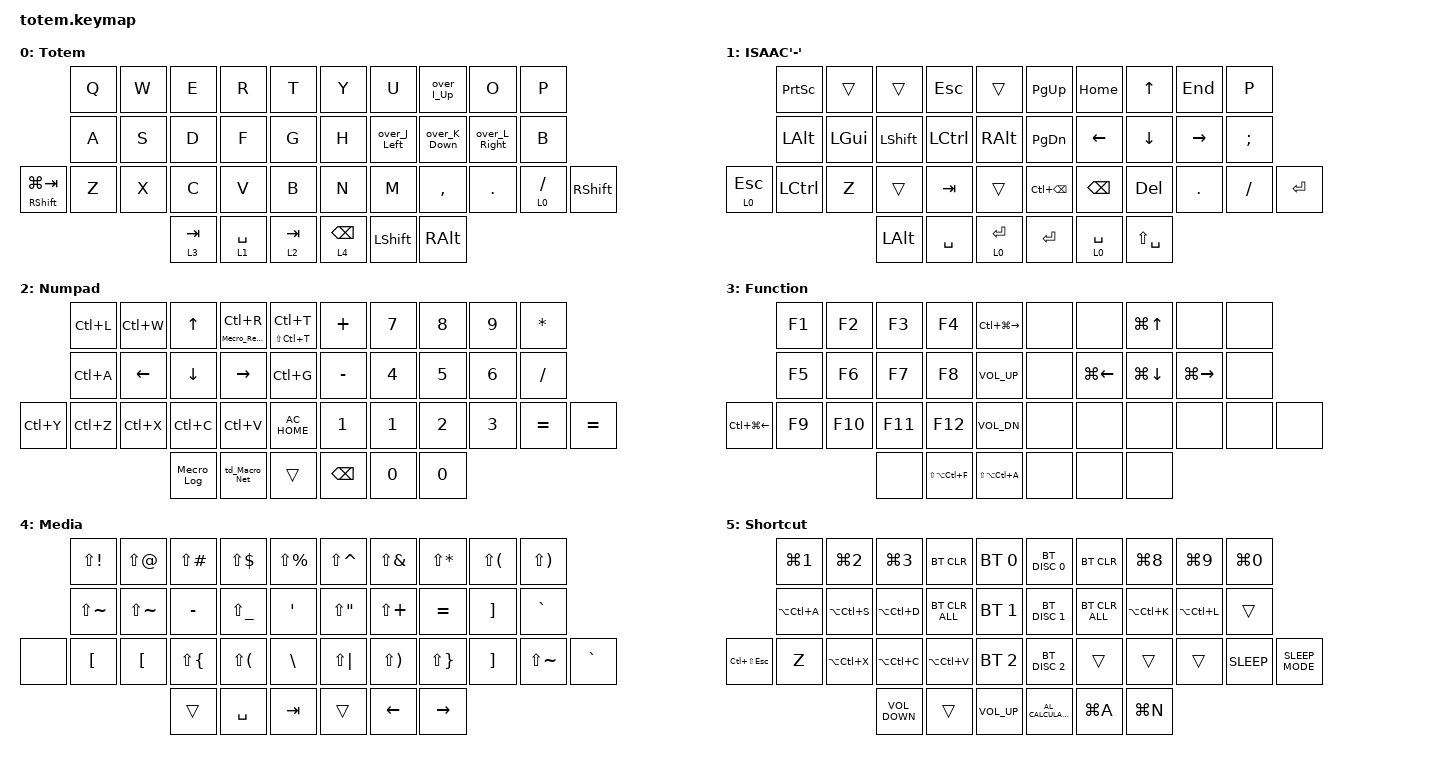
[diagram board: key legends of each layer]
//
//                                                        ▀▀▀▀▀     ▀▀▀▀▀          ▀▀█▀▀
//                                                        ▄▀▀▀▄  ▄  ▄▀▀▀▄  ▄  ▄▀▀▀▄  █  ▄▀▀▀▄
//                                                        █   █  █  █   █  █  █   █  █  █   █
//                                                         ▀▀▀   █   ▀▀▀   █   ▀▀▀   ▀   ▀▀▀
//                                                               █      ▄▄▄█▄▄▄    █   █  
//                                                               ▀      █  █  █     █▄█
//                                                             ▀▀▀▀▀    █  █  █      ▀
//                                                                      ▀  ▀  ▀
//
// ▄▄▄▄▄▄▄▄▄▄▄▄▄▄▄▄▄▄▄▄▄▄▄▄▄▄▄▄▄▄▄▄▄▄▄▄▄▄▄▄▄▄▄▄▄▄▄▄▄▄▄▄▄▄▄▄▄▄▄▄▄▄▄▄▄▄▄▄▄▄▄▄▄▄▄▄▄▄▄▄▄▄▄▄▄▄▄▄▄▄▄▄▄▄▄▄▄▄▄▄▄▄▄▄▄▄▄▄▄▄▄▄▄▄▄▄▄▄▄▄▄▄▄▄▄▄▄▄▄▄▄▄▄▄▄▄▄▄▄▄▄▄▄▄▄▄▄▄▄

#include <behaviors.dtsi>
#include <dt-bindings/zmk/bt.h>
#include <dt-bindings/zmk/keys.h>
#include <dt-bindings/zmk/pointing.h>

#define Base        0
#define Nav         1
#define Sym         2
#define Fun         3
#define Game        4
#define Gameplus    5

&mt {
    quick-tap-ms = <100>;
    global-quick-tap;
    flavor = "hold-preferred";
    tapping-term-ms = <180>;
};

&lt {
    tapping-term-ms = <400>;
    flavor = "balanced";
    quick-tap-ms = <400>;
};

/ {
    behaviors {
        hm: homerow_mods {
            compatible = "zmk,behavior-hold-tap";
            label = "HOMEROW_MODS";
            #binding-cells = <2>;
            flavor = "tap-preferred";
            tapping-term-ms = <200>;
            quick-tap-ms = <130>;
            global-quick-tap;
            bindings = <&kp>, <&kp>;
        };

        td_Macro_Net: td_Macro_Net {
            compatible = "zmk,behavior-tap-dance";
            label = "TD_MACRO_NET";
            #binding-cells = <0>;
            bindings = <&Macro_Net1>, <&Macro_Net2>;

            tapping-term-ms = <350>;
        };

        td_Refresh: td_Refresh {
            compatible = "zmk,behavior-tap-dance";
            label = "TD_REFRESH";
            #binding-cells = <0>;
            bindings = <&kp LC(R)>, <&Mecro_Refresh>;

            tapping-term-ms = <350>;
        };

        td_mail: td_mail {
            compatible = "zmk,behavior-tap-dance";
            label = "TD_MAIL";
            #binding-cells = <0>;
            bindings = <&kp LA(LC(G))>, <&kp LA(LC(N))>;
        };

        td_chrome_newtab: td_chrome_newtab {
            compatible = "zmk,behavior-tap-dance";
            label = "TD_CHROME_NEWTAB";
            #binding-cells = <0>;
            bindings = <&kp LC(T)>, <&kp LC(LS(T))>;

            tapping-term-ms = <350>;
        };

        over_S_save: over_S_save {
            compatible = "zmk,behavior-mod-morph";
            label = "OVER_S_SAVE";
            bindings = <&kp S>, <&kp LC(S)>;

            #binding-cells = <0>;
            mods = <(MOD_LSFT)>;
        };

        over_I_Up: over_I_Up {
            compatible = "zmk,behavior-mod-morph";
            label = "OVER_I_UP";
            bindings = <&kp I>, <&kp LS(UP_ARROW)>;

            #binding-cells = <0>;
            mods = <(MOD_LSFT)>;
        };

        over_J_Left: over_J_Left {
            compatible = "zmk,behavior-mod-morph";
            label = "OVER_J_LEFT";
            bindings = <&kp J>, <&kp LS(LEFT_ARROW)>;

            #binding-cells = <0>;
            mods = <(MOD_LSFT)>;
        };

        over_K_Down: over_K_Down {
            compatible = "zmk,behavior-mod-morph";
            label = "OVER_K_DOWN";
            bindings = <&kp K>, <&kp LS(DOWN_ARROW)>;

            #binding-cells = <0>;
            mods = <(MOD_LSFT)>;
        };

        over_L_Right: over_L_Right {
            compatible = "zmk,behavior-mod-morph";
            label = "OVER_L_RIGHT";
            bindings = <&kp L>, <&kp LS(RIGHT_ARROW)>;

            #binding-cells = <0>;
            mods = <(MOD_LSFT)>;
        };

        hmc: homerow_mods_ctrl {
            compatible = "zmk,behavior-hold-tap";
            label = "HMC";
            #binding-cells = <2>;
            flavor = "tap-preferred";
            tapping-term-ms = <200>;
            quick-tap-ms = <130>;
            global-quick-tap;
            bindings = <&kp>, <&kp>;

            hold-trigger-key-positions = <34>;
        };

        OSM_shift: OSM_shift {
            compatible = "zmk,behavior-sticky-key";
            label = "OSM_SHIFT";
            bindings = <&kp>;
            #binding-cells = <1>;
            release-after-ms = <50>;
            quick-release;
        };

        LT_hold: LT_hold {
            compatible = "zmk,behavior-hold-tap";
            label = "LT_HOLD";
            bindings = <&mo>, <&kp>;

            #binding-cells = <2>;
            tapping-term-ms = <240>;
            quick-tap-ms = <240>;
        };

        MT_hold: MT_hold {
            compatible = "zmk,behavior-hold-tap";
            label = "MT_HOLD";
            bindings = <&kp>, <&kp>;

            #binding-cells = <2>;
            tapping-term-ms = <240>;
            quick-tap-ms = <200>;
        };

        over_R_f4: over_R_f4 {
            compatible = "zmk,behavior-mod-morph";
            label = "OVER_R_F4";
            bindings = <&kp R>, <&kp LA(F4)>;

            #binding-cells = <0>;
            mods = <(MOD_LSFT)>;
        };

        over_D_ctl: over_D_ctl {
            compatible = "zmk,behavior-mod-morph";
            label = "OVER_D_CTL";
            bindings = <&kp D>, <&kp LC(D)>;

            #binding-cells = <0>;
            mods = <(MOD_LSFT)>;
        };

        over_E_ctl: over_E_ctl {
            compatible = "zmk,behavior-mod-morph";
            label = "OVER_E_CTL";
            bindings = <&kp E>, <&kp LC(E)>;

            #binding-cells = <0>;
            mods = <(MOD_LSFT)>;
        };

        over_F_ctl: over_F_ctl {
            compatible = "zmk,behavior-mod-morph";
            label = "OVER_F_CTL";
            bindings = <&kp F>, <&kp LC(F)>;

            #binding-cells = <0>;
            mods = <(MOD_LSFT)>;
        };

        ht_test: ht_test {
            compatible = "zmk,behavior-hold-tap";
            label = "HT_TEST";
            bindings = <&kp>, <&kp>;

            #binding-cells = <2>;
            tapping-term-ms = <350>;
        };

        td_hold_test: td_hold_test {
            compatible = "zmk,behavior-tap-dance";
            label = "TD_HOLD_TEST";
            #binding-cells = <0>;
            bindings = <&kp NUMBER_1>, <&ht_test NUMBER_3 NUMBER_2>;
        };

        LT_retro: LT_retro {
            compatible = "zmk,behavior-hold-tap";
            label = "LT_RETRO";
            bindings = <&mo>, <&kp>;

            #binding-cells = <2>;
            tapping-term-ms = <300>;
            flavor = "hold-preferred";
            retro-tap;
            quick-tap-ms = <300>;
        };

        ht_refresh: ht_refresh {
            compatible = "zmk,behavior-hold-tap";
            label = "HT_REFRESH";
            #binding-cells = <2>;
            flavor = "tap-preferred";
            tapping-term-ms = <200>;
            quick-tap-ms = <130>;
            global-quick-tap;
            bindings = <&Mecro_Refresh>, <&kp>;
        };

        ht_mkp: ht_mkp {
            compatible = "zmk,behavior-hold-tap";
            label = "HT_MKP";
            bindings = <&mkp>, <&kp>;

            #binding-cells = <2>;
            tapping-term-ms = <240>;
            quick-tap-ms = <200>;
            flavor = "balanced";
        };
    };

    combos {
        compatible = "zmk,combos";

        Delete_alt {
            bindings = <&hm LALT DEL>;
            key-positions = <11 12>;
            layers = <0>;
        };

        question {
            bindings = <&kp QUESTION>;
            key-positions = <16 17>;
            layers = <0>;
            timeout-ms = <400>;
        };

        Enter {
            bindings = <&kp ENTER>;
            key-positions = <19 31>;
            layers = <0>;
            timeout-ms = <350>;
        };

        alt+f4 {
            bindings = <&kp LA(F4)>;
            key-positions = <0 20>;
            layers = <0 2>;
        };

        brackets {
            bindings = <&kp LPAR>;
            key-positions = <13 14>;
            layers = <0 2>;
        };

        caps {
            bindings = <&kp CAPS>;
            key-positions = <0 1 8 9>;
            layers = <0>;
            timeout-ms = <350>;
        };

        four {
            bindings = <&kp DOLLAR>;
            key-positions = <3 14>;
            layers = <0 2>;
            require-prior-idle-ms = <100>;
        };

        caps_word {
            bindings = <&caps_word>;
            key-positions = <27 28>;
            timeout-ms = <350>;
            layers = <0>;
        };

        del {
            bindings = <&mt LALT DELETE>;
            key-positions = <18 17>;
            layers = <0>;
        };

        quotes {
            bindings = <&kp DOUBLE_QUOTES>;
            key-positions = <30 29>;
            layers = <0>;
        };

        exclamation {
            bindings = <&mt LSHIFT EXCLAMATION>;
            key-positions = <12 13>;
            layers = <0 2>;
        };

        qua {
            bindings = <&kp SQT>;
            key-positions = <29 28>;
            layers = <0>;
            require-prior-idle-ms = <100>;
        };

        win {
            bindings = <&kp LEFT_WIN>;
            key-positions = <21 22>;
            layers = <0>;
        };

        middle_click {
            bindings = <&ht_mkp MCLK LC(PAGE_UP)>;
            key-positions = <22 23>;
            timeout-ms = <350>;
            layers = <0>;
        };

        right_click {
            bindings = <&ht_mkp RCLK LC(PAGE_DOWN)>;
            key-positions = <23 24>;
            layers = <0 2>;
        };

        five {
            bindings = <&kp PERCENT>;
            key-positions = <6 15>;
            layers = <0>;
            require-prior-idle-ms = <100>;
        };

        six {
            bindings = <&kp CARET>;
            key-positions = <6 7>;
            layers = <0>;
            require-prior-idle-ms = <100>;
        };

        seven {
            bindings = <&kp AMPERSAND>;
            key-positions = <8 7>;
            layers = <0>;
        };

        two {
            bindings = <&kp AT_SIGN>;
            key-positions = <1 2>;
            layers = <0 2>;
            require-prior-idle-ms = <100>;
        };

        three {
            bindings = <&kp HASH>;
            key-positions = <2 3>;
            layers = <0 2>;
            require-prior-idle-ms = <100>;
        };

        eight {
            bindings = <&kp ASTERISK>;
            key-positions = <8 9>;
            layers = <0 2>;
            require-prior-idle-ms = <100>;
        };

        wave {
            bindings = <&mt LCTRL TILDE>;
            key-positions = <10 11>;
            layers = <0 2>;
            require-prior-idle-ms = <100>;
        };

        Macro_brackets {
            bindings = <&kp RPAR>;
            key-positions = <15 16>;
            layers = <0>;
            timeout-ms = <350>;
        };

        TG {
            bindings = <&tog 0>;
            key-positions = <10 19 11 18>;
            layers = <0>;
        };

        gaming {
            bindings = <&tog 1>;
            key-positions = <20 31>;
            layers = <0 1>;
        };

        backtick {
            bindings = <&kp GRAVE>;
            key-positions = <20 10>;
            layers = <0>;
        };

        backslash {
            bindings = <&kp BACKSLASH>;
            key-positions = <31 30>;
            layers = <0>;
        };

        esc {
            bindings = <&kp ESC>;
            key-positions = <0 1>;
            layers = <0>;
        };

        semi {
            bindings = <&mt LCTRL SEMICOLON>;
            key-positions = <19 18>;
            layers = <0>;
        };

        L_bracket {
            bindings = <&kp LBKT>;
            key-positions = <4 3>;
            layers = <0>;
        };

        R_bracket {
            bindings = <&kp RBKT>;
            key-positions = <5 6>;
            layers = <0>;
        };

        all {
            bindings = <&kp LC(A)>;
            key-positions = <10 34>;
            layers = <0>;
        };

        underbar {
            bindings = <&kp UNDERSCORE>;
            key-positions = <26 27>;
            layers = <0>;
        };

        minus {
            bindings = <&kp MINUS>;
            key-positions = <25 24>;
        };

        settings_layer {
            bindings = <&mo 5>;
            key-positions = <34 33>;
        };
    };

    macros {
        Macro_Net1: net_macro {
            compatible = "zmk,behavior-macro";
            #binding-cells = <0>;
            bindings = <&kp LEFT_ARROW &kp LEFT_ARROW &kp N0 &kp ENTER>;
            label = "NET_MACRO";
        };

        Macro_Net2: net_macro2 {
            compatible = "zmk,behavior-macro";
            #binding-cells = <0>;
            bindings = <&kp LEFT_ARROW &kp N0 &kp N0 &kp ENTER>;
            label = "NET_MACRO2";
        };

        Mecro_Log: Mecro_Log {
            compatible = "zmk,behavior-macro";
            #binding-cells = <0>;
            bindings = <&kp LC(A) &kp D &kp L &kp D &kp M &kp D &kp D &kp L>;
            label = "MECRO_LOG";
        };

        Mecro_Refresh: Mecro_Refresh {
            compatible = "zmk,behavior-macro";
            #binding-cells = <0>;
            bindings = <&kp LC(A) &kp LC(C) &kp LC(R)>;
            label = "MECRO_REFRESH";
        };

        Macro_brackets: Macro_brackets {
            compatible = "zmk,behavior-macro";
            #binding-cells = <0>;
            bindings = <&kp LPAR &kp RPAR &kp LEFT_ARROW>;
            label = "MACRO_BRACKETS";
        };

        Macro_bracket_r: Macro_bracket {
            compatible = "zmk,behavior-macro";
            #binding-cells = <0>;
            bindings = <&kp LEFT_BRACKET &kp RIGHT_BRACKET &kp LEFT_ARROW>;
            label = "MACRO_BRACKET";
        };
    };

    keymap {
        compatible = "zmk,keymap";

        Totem {
            display-name = "Totem";
            bindings = <
                              &kp Q  &kp W  &kp E            &kp R        &kp T             &kp Y            &kp U         &over_I_Up     &kp O          &kp P
                              &kp A  &kp S  &kp D            &kp F        &kp G             &kp H            &over_J_Left  &over_K_Down   &over_L_Right  &kp B
&MT_hold RIGHT_SHIFT LG(TAB)  &kp Z  &kp X  &kp C            &kp V        &kp B             &kp N            &kp M         &kp COMMA      &kp PERIOD     &lt 0 SLASH  &kp RIGHT_SHIFT
                                            &LT_retro 3 TAB  &lt 1 SPACE  &LT_hold 2 TAB    &lt 4 BACKSPACE  &kp LSHFT     &kp RIGHT_ALT
            >;
        };

        CONTROLS {
            bindings = <
              &kp PRINTSCREEN  &trans        &trans      &kp ESC           &trans           &kp PG_UP     &kp HOME     &kp UP         &kp END    &kp P
              &kp LALT         &kp LEFT_GUI  &kp LSHIFT  &kp LEFT_CONTROL  &kp RIGHT_ALT    &kp PG_DN     &kp LEFT     &kp DOWN       &kp RIGHT  &kp SEMI
&lt 0 ESCAPE  &kp LCTRL        &kp Z         &trans      &kp TAB           &trans           &kp LC(BSPC)  &kp BSPC     &kp DEL        &kp DOT    &kp FSLH  &kp ENTER
                                             &kp LALT    &kp SPACE         &lt 0 ENTER      &kp RET       &lt 0 SPACE  &kp LS(SPACE)
            >;

            label = "ISAAC'-'";
        };

        Numpad {
            display-name = "Numpad";
            bindings = <
           &kp LC(L)  &kp LC(W)       &kp UP_ARROW    &ht_refresh 0 LC(R)  &hm LS(LC(T)) LC(T)    &kp PLUS       &kp NUMBER_7  &kp NUMBER_8  &kp NUMBER_9  &kp ASTERISK
           &kp LC(A)  &kp LEFT_ARROW  &kp DOWN_ARROW  &kp RIGHT_ARROW      &kp LC(G)              &kp MINUS      &kp NUMBER_4  &kp NUMBER_5  &kp NUMBER_6  &kp SLASH
&kp LC(Y)  &kp LC(Z)  &kp LC(X)       &kp LC(C)       &kp LC(V)            &kp C_AC_HOME          &kp N1         &kp NUMBER_1  &kp NUMBER_2  &kp NUMBER_3  &kp EQUAL     &kp EQUAL
                                      &Mecro_Log      &td_Macro_Net        &trans                 &kp BACKSPACE  &kp N0        &kp NUMBER_0
            >;
        };

        Function {
            display-name = "Function";
            bindings = <
                        &kp F1  &kp F2   &kp F3   &kp F4             &kp LC(LG(RIGHT))    &none  &none         &kp LG(UP_ARROW)  &none          &none
                        &kp F5  &kp F6   &kp F7   &kp F8             &kp C_VOL_UP         &none  &kp LG(LEFT)  &kp LG(DOWN)      &kp LG(RIGHT)  &none
&kp LC(LG(LEFT_ARROW))  &kp F9  &kp F10  &kp F11  &kp F12            &kp C_VOL_DN         &none  &none         &none             &none          &none  &none
                                         &none    &kp LS(LA(LC(F)))  &kp LS(LA(LC(A)))    &none  &none         &none
            >;
        };

        SYMBOLS {
            display-name = "Media";
            bindings = <
       &kp LS(EXCL)   &kp LS(AT)     &kp LS(POUND)  &kp LS(DLLR)   &kp LS(PRCNT)    &kp LS(CARET)  &kp LS(AMPS)    &kp LS(STAR)     &kp LS(LPAR)  &kp LS(RPAR)
       &kp LS(TILDE)  &kp LS(TILDE)  &kp MINUS      &kp LS(UNDER)  &kp SQT          &kp LS(DQT)    &kp LS(PLUS)    &kp EQUAL        &kp RBKT      &kp GRAVE
&none  &kp LBKT       &kp LBKT       &kp LS(LBRC)   &kp LS(LPAR)   &kp BSLH         &kp LS(PIPE)   &kp LS(RPAR)    &kp LS(RBRC)     &kp RBKT      &kp LS(TILDE)  &kp GRAVE
                                     &trans         &kp SPACE      &kp TAB          &trans         &kp LEFT_ARROW  &kp RIGHT_ARROW
            >;
        };

        Shortcut {
            display-name = "Shortcut";
            bindings = <
                    &kp LG(NUMBER_1)  &kp LG(NUMBER_2)  &kp LG(NUMBER_3)   &bt BT_CLR      &bt BT_SEL 0       &bt BT_DISC 0        &bt BT_CLR      &kp LG(N8)     &kp LG(N9)     &kp LG(N0)
                    &kp LA(LC(A))     &kp LA(LC(S))     &kp LA(LC(D))      &bt BT_CLR_ALL  &bt BT_SEL 1       &bt BT_DISC 1        &bt BT_CLR_ALL  &kp LA(LC(K))  &kp LA(LC(L))  &trans
&kp LC(LS(ESCAPE))  &kp Z             &kp LA(LC(X))     &kp LA(LC(C))      &kp LA(LC(V))   &bt BT_SEL 2       &bt BT_DISC 2        &trans          &trans         &trans         &kp C_SLEEP  &kp C_SLEEP_MODE
                                                        &kp C_VOLUME_DOWN  &trans          &kp C_VOLUME_UP    &kp C_AL_CALCULATOR  &kp LG(A)       &kp LG(N)
            >;
        };
    };
};
